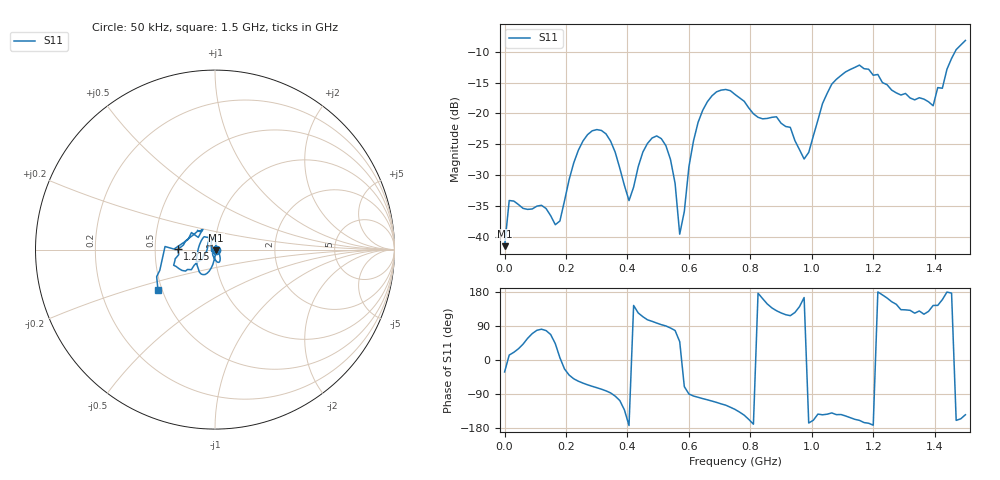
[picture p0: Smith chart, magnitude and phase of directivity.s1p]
! Created with skrf 1.8.0 (http://scikit-rf.org).
# Hz S RI R 50.0
!freq ReS11 ImS11
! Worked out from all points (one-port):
!   101 points, 50 kHz to 1.5 GHz, reference 50 ohm
!   lowest |S11| = -41.5 dB at 50 kHz (marker M1), VSWR 1.02, Z = 50.7 - j0.445 ohm
!   |S11| at or under -10 dB: start of sweep to 1.466 GHz
!   S11 on the Smith chart (normalised r, x): 50 kHz: 1.01, -0.01; 1.215 GHz: 0.66, +0.00; 1.5 GHz: 0.47, -0.25
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50000  0.00718 -0.00439
1.50495e7  0.0192 0.00445
1.20046e8  0.00274 0.0178
1.650445e8  0.00915 0.0086
1.950435e8  0.018 -0.00787
2.40042e8  0.0282 -0.0417
2.850405e8  0.0254 -0.0677
3.30039e8  0.0102 -0.0676
3.750375e8  -0.0105 -0.0344
4.050365e8  -0.0195 -0.0024
4.50035e8  -0.02 0.0443
5.10033e8  -0.00356 0.0624
5.40032e8  0.00413 0.0422
5.550315e8  0.0057 0.0265
5.70031e8  0.00698 0.00787
6.150295e8  -0.00534 -0.0599
6.450285e8  -0.0219 -0.1039
6.90027e8  -0.0558 -0.1389
7.50025e8  -0.0922 -0.1086
9.450185e8  -0.0349 0.0492
9.750175e8  -0.0412 0.0112
1.065014e9  -0.1317 -0.1118
1.125012e9  -0.2006 -0.1062
1.21501e9  -0.2069 0.0012
1.320006e9  -0.0877 0.1007
1.395004e9  -0.0933 0.068
1.455002e9  -0.2784 0.0172
1.5e9  -0.3175 -0.2268
